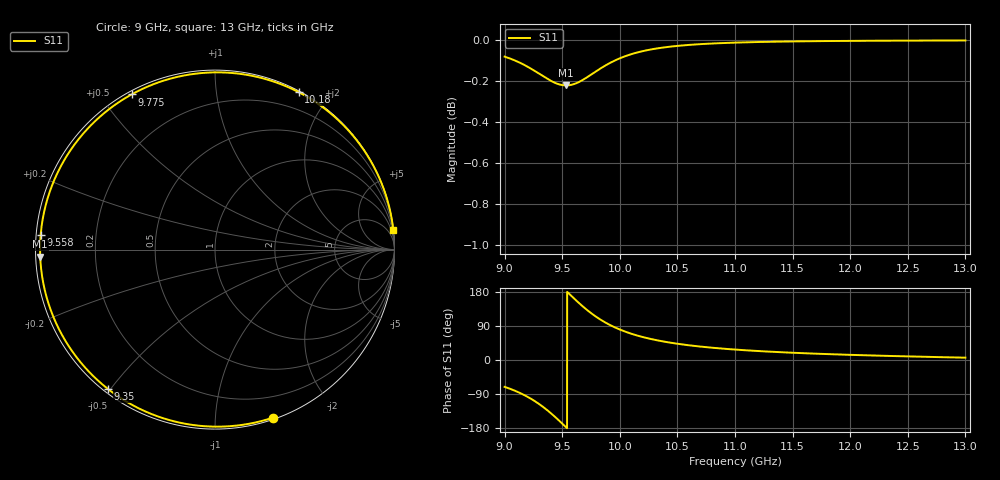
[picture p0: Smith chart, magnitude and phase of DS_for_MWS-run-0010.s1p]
! TOUCHSTONE file generated by CST DESIGN STUDIO
! Date and time: Tue Feb  4 14:24:18 2025
! Project name: C:\Work\MatlabApps\UnitCellOptimizationMatlab\CST\unitcell.cst
! Tree item: Tasks\Sweep1\SPara1\S-Parameters
! Header version: 2024
! Port assignment regex: !\s*Touchstone port\s*([0-9]+)\s*=\s*(CST MWS port|CST DES external port|CST DES block port)\s*(.+)\s* \(\"(.*)\"\)(\s*mode\s*([0-9]+))?.*
! Touchstone port assignment:
! Touchstone port 1 = CST DES external port 1 ("")
# GHz S MA R 50
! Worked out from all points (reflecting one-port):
!   4001 points, 9 GHz to 13 GHz, reference 50 ohm
!   lowest |S11| = -0.2 dB at 9.534 GHz (marker M1), VSWR 77.87, Z = 0.642 - j1.03 ohm
!   phase of S11 starts at -71 deg and turns -283 deg over the sweep
!   S11 on the Smith chart (normalised r, x): 9 GHz: 0.01, -1.40; 9.35 GHz: 0.01, -0.49; 9.558 GHz: 0.01, +0.04; 9.775 GHz: 0.01, +0.60; 10.18 GHz: 0.01, +1.66; 13 GHz: 0, +19
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9  0.9905 -70.9
9.099  0.9881 -82.3
9.207  0.9846 -98.5
9.282  0.9818 -112.5
9.35  0.979 -127.5
9.421  0.9765 -145.5
9.462  0.9754 -156.8
9.5  0.9748 -167.7
9.534  0.9746 -177.6
9.558  0.9747 175.3
9.612  0.9756 159.7
9.673  0.9774 142.9
9.724  0.9794 130.0
9.775  0.9816 118.2
9.823  0.9836 108.4
9.875  0.9856 98.8
9.933  0.9876 89.6
10  0.9895 80.4
10.087  0.9916 70.6
10.181  0.9933 62.0
10.327  0.9951 51.8
10.5  0.9964 42.9
10.721  0.9975 34.7
11  0.9983 27.5
11.5  0.9989 19.1
12  0.9992 13.6
12.5  0.9994 9.5
13  0.9995 6.2
